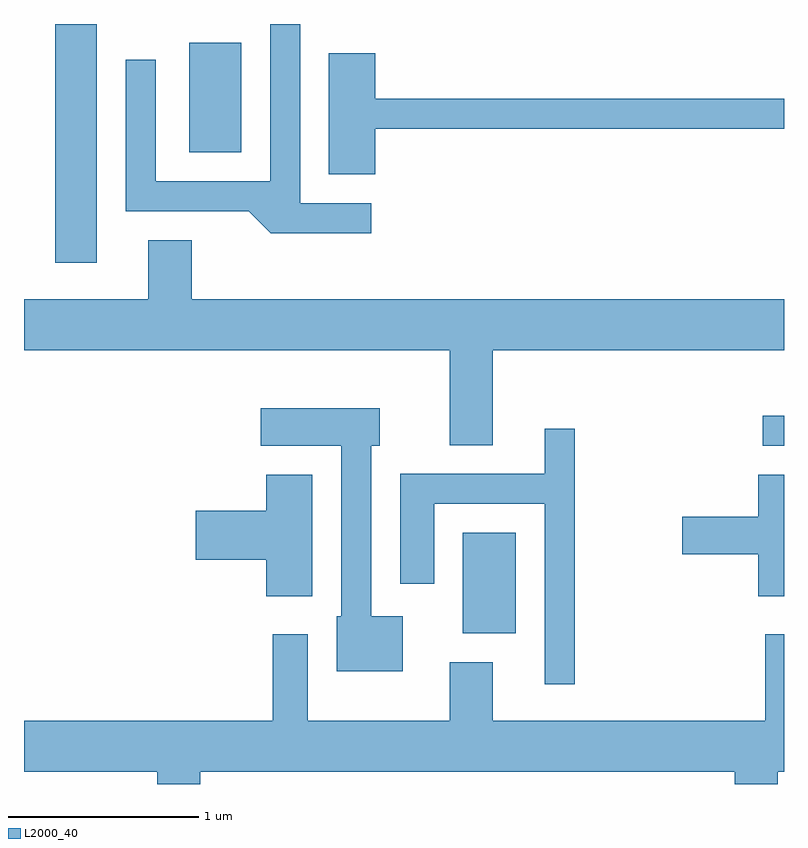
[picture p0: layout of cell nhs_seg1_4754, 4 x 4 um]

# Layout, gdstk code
import gdstk
lib = gdstk.Library(unit=1e-6, precision=1e-09)
def R(c, l, rs):  # rectangles x0, y0, x1, y1
    for r in rs: c.add(gdstk.rectangle(r[:2], r[2:], *l))
def P(c, l, *ps):  # polygons
    for p in ps: c.add(gdstk.Polygon(p, *l))
L2000_40 = (2000, 40)

nhs_seg1_4754 = lib.new_cell('nhs_seg1_4754')
R(nhs_seg1_4754, L2000_40, [(329.921,922.506,330.199,923.034), (331.498,923.491,331.611,923.649), (327.776,924.456,327.994,925.712), (328.481,925.036,328.754,925.614)])
P(nhs_seg1_4754, L2000_40, [(329.438,924.769),(329.064,924.769),(329.064,925.712),(328.906,925.712),(328.906,924.884),(328.304,924.884),(328.304,925.523),(328.146,925.523),(328.146,924.726),(328.794,924.726),(328.909,924.611),(329.438,924.611)],
  [(329.459,925.161),(331.611,925.161),(331.611,925.319),(329.459,925.319),(329.459,925.559),(329.216,925.559),(329.216,924.921),(329.459,924.921)],
  [(330.079,923.996),(331.611,923.996),(331.611,924.264),(328.494,924.264),(328.494,924.574),(328.266,924.574),(328.266,924.264),(327.611,924.264),(327.611,923.996),(329.851,923.996),(329.851,923.496),(330.079,923.496)],
  [(329.604,922.594),(329.439,922.594),(329.439,923.491),(329.484,923.491),(329.484,923.689),(328.856,923.689),(328.856,923.491),(329.281,923.491),(329.281,922.594),(329.256,922.594),(329.256,922.306),(329.604,922.306)],
  [(330.509,923.583),(330.351,923.583),(330.351,923.344),(329.591,923.344),(329.591,922.766),(329.769,922.766),(329.769,923.186),(330.351,923.186),(330.351,922.238),(330.509,922.238)],
  [(331.611,923.339),(331.476,923.339),(331.476,923.119),(331.076,923.119),(331.076,922.921),(331.476,922.921),(331.476,922.701),(331.611,922.701)],
  [(329.129,923.339),(328.886,923.339),(328.886,923.149),(328.516,923.149),(328.516,922.891),(328.886,922.891),(328.886,922.701),(329.129,922.701)],
  [(328.539,921.776),(331.351,921.776),(331.351,921.712),(331.579,921.712),(331.579,921.776),(331.611,921.776),(331.611,922.499),(331.511,922.499),(331.511,922.044),(330.079,922.044),(330.079,922.354),(329.851,922.354),(329.851,922.044),(329.104,922.044),(329.104,922.499),(328.921,922.499),(328.921,922.044),(327.611,922.044),(327.611,921.776),(328.311,921.776),(328.311,921.712),(328.539,921.712)])

lib.write_gds('nhs_seg1_4754.gds')
